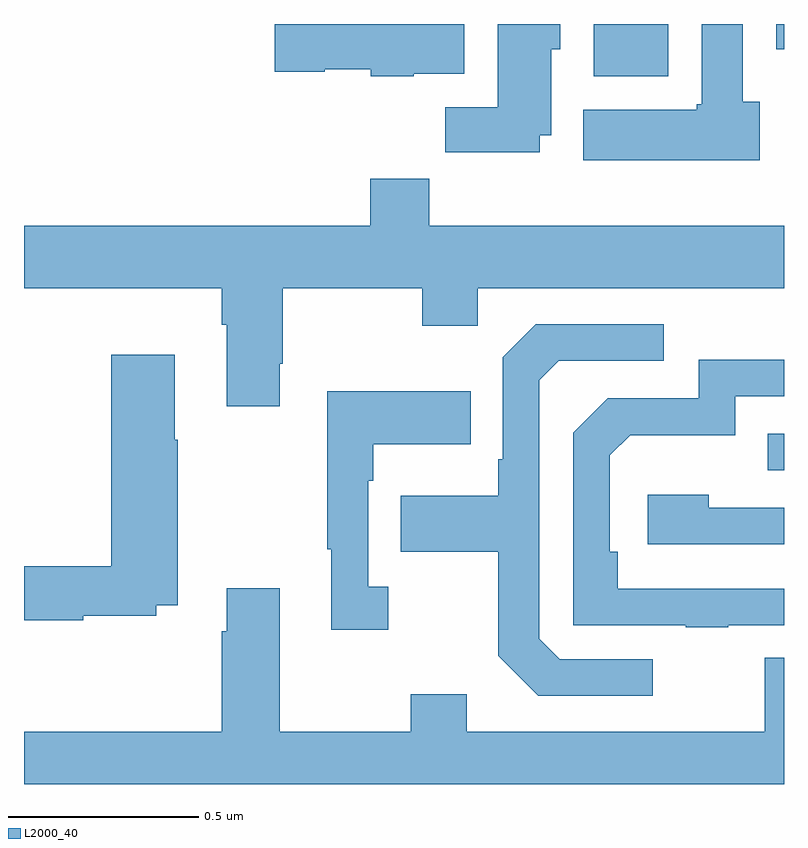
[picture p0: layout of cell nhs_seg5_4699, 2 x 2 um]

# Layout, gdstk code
import gdstk
lib = gdstk.Library(unit=1e-6, precision=1e-09)
def R(c, l, rs):  # rectangles x0, y0, x1, y1
    for r in rs: c.add(gdstk.rectangle(r[:2], r[2:], *l))
def P(c, l, *ps):  # polygons
    for p in ps: c.add(gdstk.Polygon(p, *l))
L2000_40 = (2000, 40)

nhs_seg5_4699 = lib.new_cell('nhs_seg5_4699')
R(nhs_seg5_4699, L2000_40, [(175.957,845.625,176,845.721), (175.499,846.662,175.696,846.799), (175.979,846.732,176,846.799)])
P(nhs_seg5_4699, L2000_40, [(175.936,846.594),(175.891,846.594),(175.891,846.799),(175.784,846.799),(175.784,846.588),(175.771,846.588),(175.771,846.574),(175.472,846.574),(175.472,846.44),(175.936,846.44)],
  [(175.026,846.668),(175.159,846.668),(175.159,846.799),(174.66,846.799),(174.66,846.673),(174.792,846.673),(174.792,846.68),(174.912,846.68),(174.912,846.662),(175.026,846.662)],
  [(175.357,846.506),(175.387,846.506),(175.387,846.732),(175.411,846.732),(175.411,846.799),(175.247,846.799),(175.247,846.58),(175.108,846.58),(175.108,846.462),(175.357,846.462)],
  [(174.911,846.268),(174,846.268),(174,846.104),(174.521,846.104),(174.521,846.008),(174.533,846.008),(174.533,845.793),(174.673,845.793),(174.673,845.905),(174.681,845.905),(174.681,846.104),(175.048,846.104),(175.048,846.005),(175.194,846.005),(175.194,846.104),(176,846.104),(176,846.268),(175.067,846.268),(175.067,846.392),(174.911,846.392)],
  [(175.654,845.127),(175.41,845.127),(175.356,845.181),(175.356,845.862),(175.407,845.913),(175.684,845.913),(175.684,846.009),(175.347,846.009),(175.26,845.922),(175.26,845.653),(175.248,845.653),(175.248,845.557),(174.991,845.557),(174.991,845.41),(175.248,845.41),(175.248,845.137),(175.353,845.031),(175.654,845.031)],
  [(174.156,845.242),(174.348,845.242),(174.348,845.27),(174.405,845.27),(174.405,845.705),(174.397,845.705),(174.397,845.929),(174.23,845.929),(174.23,845.372),(174,845.372),(174,845.23),(174.156,845.23)],
  [(175.853,845.217),(176,845.217),(176,845.313),(175.562,845.313),(175.562,845.41),(175.542,845.41),(175.542,845.664),(175.595,845.717),(175.872,845.717),(175.872,845.82),(176,845.82),(176,845.916),(175.776,845.916),(175.776,845.814),(175.536,845.814),(175.446,845.724),(175.446,845.217),(175.741,845.217),(175.741,845.212),(175.853,845.212)],
  [(174.958,845.318),(174.906,845.318),(174.906,845.597),(174.919,845.597),(174.919,845.693),(175.175,845.693),(175.175,845.833),(174.798,845.833),(174.798,845.417),(174.809,845.417),(174.809,845.205),(174.958,845.205)],
  [(176,845.526),(175.802,845.526),(175.802,845.56),(175.641,845.56),(175.641,845.43),(176,845.43)],
  [(176,845.131),(175.949,845.131),(175.949,844.936),(175.165,844.936),(175.165,845.035),(175.018,845.035),(175.018,844.936),(174.673,844.936),(174.673,845.314),(174.533,845.314),(174.533,845.201),(174.521,845.201),(174.521,844.936),(174,844.936),(174,844.799),(176,844.799)])

lib.write_gds('nhs_seg5_4699.gds')
